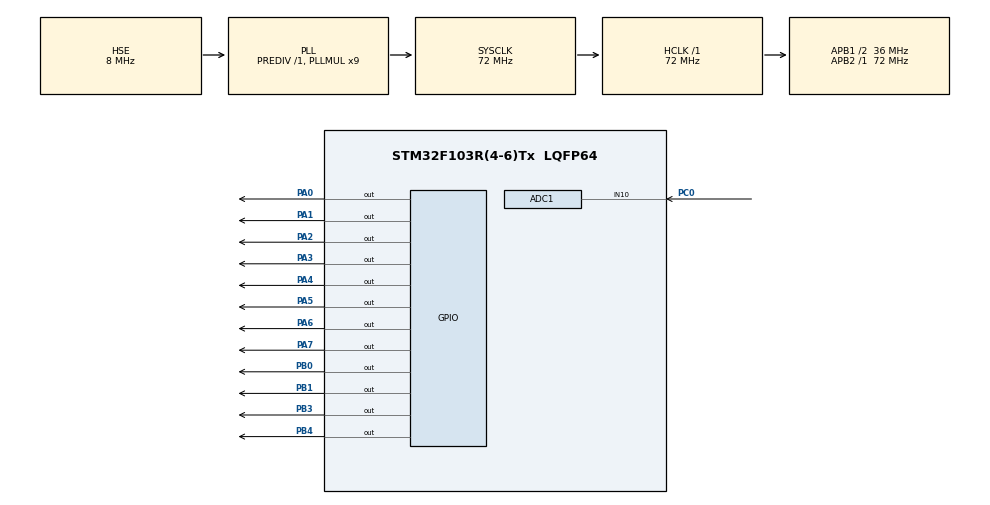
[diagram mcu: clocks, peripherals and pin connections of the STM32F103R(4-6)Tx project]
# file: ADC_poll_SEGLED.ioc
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ADC1.Channel-0\#ChannelRegularConversion=ADC_CHANNEL_10
ADC1.ContinuousConvMode=ENABLE
ADC1.DataAlign=ADC_DATAALIGN_RIGHT
ADC1.DiscontinuousConvMode=DISABLE
ADC1.EnableAnalogWatchDog=false
ADC1.EnableRegularConversion=ENABLE
ADC1.ExternalTrigConv=ADC_SOFTWARE_START
ADC1.InjNumberOfConversion=0
ADC1.NbrOfConversion=1
ADC1.NbrOfConversionFlag=1
ADC1.Rank-0\#ChannelRegularConversion=1
ADC1.SamplingTime-0\#ChannelRegularConversion=ADC_SAMPLETIME_55CYCLES_5
ADC1.ScanConvMode=ADC_SCAN_DISABLE
ADC1.master=1
Mcu.Family=STM32F1
Mcu.Name=STM32F103R(4-6)Tx
Mcu.Package=LQFP64
NVIC.ADC1_2_IRQn=true\:1\:0\:true\:false\:true\:true\:true
NVIC.PriorityGroup=NVIC_PRIORITYGROUP_2
PA0-WKUP.Signal=GPIO_Output
PA1.Signal=GPIO_Output
PA2.Signal=GPIO_Output
PA3.Signal=GPIO_Output
PA4.Signal=GPIO_Output
PA5.Signal=GPIO_Output
PA6.Signal=GPIO_Output
PA7.Signal=GPIO_Output
PB0.Signal=GPIO_Output
PB1.Signal=GPIO_Output
PB3.Signal=GPIO_Output
PB4.Signal=GPIO_Output
PC0.Signal=ADCx_IN10
PD0-OSC_IN.Mode=HSE-External-Oscillator
PD0-OSC_IN.Signal=RCC_OSC_IN
PD1-OSC_OUT.Mode=HSE-External-Oscillator
PD1-OSC_OUT.Signal=RCC_OSC_OUT
ProjectManager.HeapSize=0x200
ProjectManager.StackSize=0x400
ProjectManager.TargetToolchain=MDK-ARM V5
RCC.ADCPresc=RCC_ADCPCLK2_DIV6
RCC.AHBFreq_Value=72000000
RCC.APB1CLKDivider=RCC_HCLK_DIV2
RCC.APB1Freq_Value=36000000
RCC.APB1TimFreq_Value=72000000
RCC.APB2Freq_Value=72000000
RCC.APB2TimFreq_Value=72000000
RCC.HCLKFreq_Value=72000000
RCC.PLLMUL=RCC_PLL_MUL9
RCC.PLLSourceVirtual=RCC_PLLSOURCE_HSE
RCC.SYSCLKFreq_VALUE=72000000
RCC.SYSCLKSource=RCC_SYSCLKSOURCE_PLLCLK
RCC.USBFreq_Value=72000000
SH.ADCx_IN10.0=ADC1_IN10,IN10
VP_SYS_VS_ND.Mode=No_Debug
board=custom

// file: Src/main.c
/* USER CODE BEGIN Header */
/**
  ******************************************************************************
  * @file           : main.c
  * @brief          : Main program body
  ******************************************************************************
  * @attention
  *
  * <h2><center>&copy; Copyright (c) 2021 STMicroelectronics.
  * All rights reserved.</center></h2>
  *
  * This software component is licensed by ST under BSD 3-Clause license,
  * the "License"; You may not use this file except in compliance with the
  * License. You may obtain a copy of the License at:
  *                        opensource.org/licenses/BSD-3-Clause
  *
  ******************************************************************************
  */
/*
@file	《嵌入式微控制器原理及设计》书籍（作者:毕盛等 Email:picy@scut.edu.cn  电子工业出版社）配套实例 ch9.1
*/
/* USER CODE END Header */

#include "main.h"
#include "adc.h"
#include "gpio.h"
#define  DSPORT GPIOA

 int8_t DISPLAY_Buffer[]={0,0,0,0};
 uint8_t NixieTubeBit[]={0xc0,0xF9,0xa4,0xb0,0x99,0x92,0x82,0xf8,0x80,0x90};
 uint16_t ADC_Value=0;

void SystemClock_Config(void);
/* USER CODE BEGIN PFP */
float Value=0;
/* USER CODE END PFP */

/* USER CODE BEGIN 0 */
/**************************************************************************************
* FunctionName   : GPIOSetMutiValue(GPIO_TypeDef* GPIOx,uint16_t j)
* Description    : 输出多个位，GPIO_Pin_Position为要输出的位，PortVal是要输出的端口值
* EntryParameter :(GPIO_TypeDef* GPIOx,uint16_t GPIO_Pin_Position ,uint16_t PortVal)
* ReturnValue    : NO
**************************************************************************************/
void GPIOSetMutiValue(GPIO_TypeDef* GPIOx,uint16_t GPIO_Pin_Position ,uint16_t PortVal)
{
	uint8_t i=0;
	uint16_t k=0;
	uint16_t b=0x0001;
	k=GPIO_Pin_Position & PortVal;
	for(i=0;i<8;i++)
	{
	  if(k&(0x01))
		{
			HAL_GPIO_WritePin(GPIOx,b,GPIO_PIN_SET);
		}
		else
		{
			HAL_GPIO_WritePin(GPIOx,b,GPIO_PIN_RESET);
		}
		b<<=1;
		k>>=1;
	}
}

uint16_t Get_ADC(){

	  //开启ADC1
    HAL_ADC_Start(&hadc1);
    //等待ADC转换完成，超时为100ms
    HAL_ADC_PollForConversion(&hadc1,10);
    //判断ADC是否转换成功
    if(HAL_IS_BIT_SET(HAL_ADC_GetState(&hadc1),HAL_ADC_STATE_REG_EOC)){
    //读取值
       return HAL_ADC_GetValue(&hadc1);
    }
    return 0;
}
/* USER CODE END 0 */

int main(void)
{
  /* USER CODE BEGIN 1 */
 uint8_t k,l;
  /* USER CODE END 1 */

  /* MCU Configuration--------------------------------------------------------*/

  /* Reset of all peripherals, Initializes the Flash interface and the Systick. */
  HAL_Init();

  /* Configure the system clock */
  SystemClock_Config();

  /* Initialize all configured peripherals */
  MX_GPIO_Init();
  MX_ADC1_Init();
  /* USER CODE BEGIN 2 */
  HAL_ADCEx_Calibration_Start(&hadc1);
	HAL_Delay(10);

  /* USER CODE END 2 */

  /* Infinite loop */
  while (1)
  {

    /* USER CODE BEGIN 3 */
		HAL_Delay(10);
		ADC_Value=Get_ADC();
		Value = (float)ADC_Value*3.3/4096; /* 3.3为AD转换的参考电压值，stm32的AD转换为12bit，2^12=4096，即当输入为3.3V时，AD转换结果为4096 */

		k=(uint8_t)Value;//转移数值用于显示
		l=(uint8_t)((Value-k)*100);//显示整数部分
		DISPLAY_Buffer[0]=k/10;//十位
		DISPLAY_Buffer[1]=k%10;	//个位
		DISPLAY_Buffer[2]=l/10;//小数点1位
		DISPLAY_Buffer[3]=l%10;//小数点2位
		GPIOSetMutiValue(GPIOB,0XFF,0x1);//字符显示
		GPIOSetMutiValue(DSPORT,0XFF,NixieTubeBit[DISPLAY_Buffer[0]]);//字符显示
		HAL_Delay(12);

		GPIOSetMutiValue(GPIOB,0XFF,0x2);//字符显示
		GPIOSetMutiValue(DSPORT,0XFF,(NixieTubeBit[DISPLAY_Buffer[1]])&0x7F);//字符显示
		HAL_Delay(12);

		GPIOSetMutiValue(GPIOB,0XFF,0x8);//字符显示
		GPIOSetMutiValue(DSPORT,0XFF,NixieTubeBit[DISPLAY_Buffer[2]]);//字符显示
		HAL_Delay(12);

		GPIOSetMutiValue(GPIOB,0XFF,0x10);//字符显示
		GPIOSetMutiValue(DSPORT,0XFF,NixieTubeBit[DISPLAY_Buffer[3]]);//字符显示
		HAL_Delay(8);

  }
  /* USER CODE END 3 */
}

void SystemClock_Config(void)
{
  RCC_OscInitTypeDef RCC_OscInitStruct = {0};
  RCC_ClkInitTypeDef RCC_ClkInitStruct = {0};
  RCC_PeriphCLKInitTypeDef PeriphClkInit = {0};

  /** Initializes the CPU, AHB and APB busses clocks
  */
  RCC_OscInitStruct.OscillatorType = RCC_OSCILLATORTYPE_HSE;
  RCC_OscInitStruct.HSEState = RCC_HSE_ON;
  RCC_OscInitStruct.HSEPredivValue = RCC_HSE_PREDIV_DIV1;
  RCC_OscInitStruct.HSIState = RCC_HSI_ON;
  RCC_OscInitStruct.PLL.PLLState = RCC_PLL_ON;
  RCC_OscInitStruct.PLL.PLLSource = RCC_PLLSOURCE_HSE;
  RCC_OscInitStruct.PLL.PLLMUL = RCC_PLL_MUL9;
  if (HAL_RCC_OscConfig(&RCC_OscInitStruct) != HAL_OK)
  {
    Error_Handler();
  }
  /** Initializes the CPU, AHB and APB busses clocks
  */
  RCC_ClkInitStruct.ClockType = RCC_CLOCKTYPE_HCLK|RCC_CLOCKTYPE_SYSCLK
                              |RCC_CLOCKTYPE_PCLK1|RCC_CLOCKTYPE_PCLK2;
  RCC_ClkInitStruct.SYSCLKSource = RCC_SYSCLKSOURCE_PLLCLK;
  RCC_ClkInitStruct.AHBCLKDivider = RCC_SYSCLK_DIV1;
  RCC_ClkInitStruct.APB1CLKDivider = RCC_HCLK_DIV2;
  RCC_ClkInitStruct.APB2CLKDivider = RCC_HCLK_DIV1;

  if (HAL_RCC_ClockConfig(&RCC_ClkInitStruct, FLASH_LATENCY_2) != HAL_OK)
  {
    Error_Handler();
  }
  PeriphClkInit.PeriphClockSelection = RCC_PERIPHCLK_ADC;
  PeriphClkInit.AdcClockSelection = RCC_ADCPCLK2_DIV6;
  if (HAL_RCCEx_PeriphCLKConfig(&PeriphClkInit) != HAL_OK)
  {
    Error_Handler();
  }
}

void Error_Handler(void)
{
}

/************************ (C) COPYRIGHT STMicroelectronics *****END OF FILE****/
